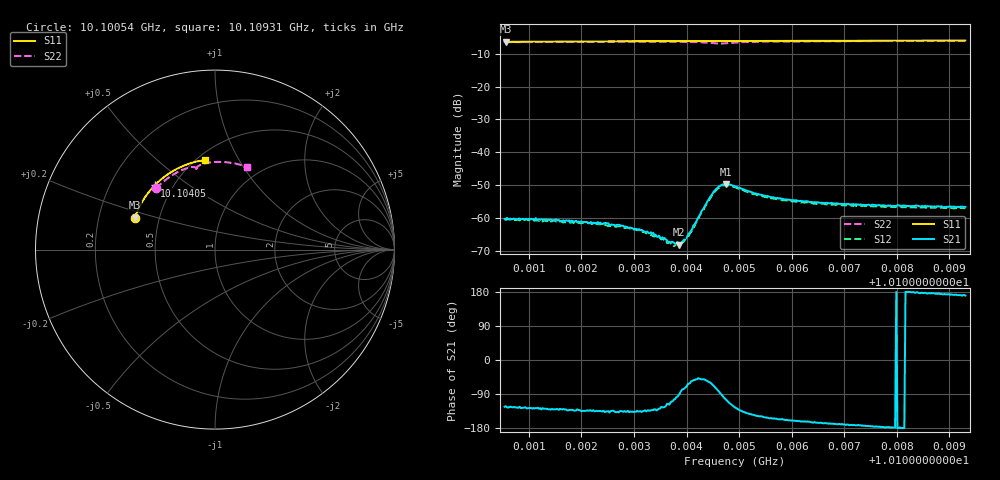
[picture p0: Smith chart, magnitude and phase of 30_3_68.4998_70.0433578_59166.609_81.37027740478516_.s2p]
#  HZ  S  RI  R  50.00
! Rohde & Schwarz Vector Network Analyzer
! Rohde-Schwarz,ZNB20-2Port,1311601062101988,3.16
! Created: UTC 3/20/2024, 5:05:03 PM
! freq[Hz]  re:S11  im:S11  re:S21  im:S21  re:S12  im:S12  re:S22  im:S22
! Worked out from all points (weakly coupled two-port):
!   401 points, 10.10054 GHz to 10.10931 GHz, reference 50 ohm
!   highest |S21| = -49.59 dB at 10.10475 GHz (marker M1); lowest = -68.0 dB at 10.10385 GHz (marker M2)
!   lowest |S11| = -6.4 dB at 10.10056 GHz (marker M3), VSWR 2.85, Z = 18.1 + j8.39 ohm
!   |S11| at or under -10 dB: nowhere
!   |S22| runs from -6.9 to -6.1 dB; largest |S21 - S12| = 0.00033
!   S11 on the Smith chart (normalised r, x): 10.10054 GHz: 0.36, +0.17; 10.10405 GHz: 0.40, +0.37; 10.10931 GHz: 0.55, +0.73
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1.0100539e10  -0.4464 0.1769  -0.000535 -0.000817  -0.000462 -0.000835  -0.3271 0.3412
1.0100561e10  -0.4459 0.1781  -0.000519 -0.000833  -0.000466 -0.000821  -0.3262 0.3421
1.0101526e10  -0.4237 0.2326  -0.000603 -0.000736  -0.00053 -0.0007  -0.2803 0.3846
1.0102008e10  -0.4102 0.2587  -0.000627 -0.000627  -0.000545 -0.000657  -0.2551 0.4032
1.0102753e10  -0.3863 0.2971  -0.000545 -0.000554  -0.000489 -0.000552  -0.2135 0.4291
1.0103104e10  -0.3738 0.3143  -0.000485 -0.000478  -0.000431 -0.000487  -0.1925 0.4395
1.0103367e10  -0.3638 0.327  -0.000404 -0.000446  -0.000331 -0.000417  -0.1761 0.4467
1.0103476e10  -0.3597 0.332  -0.00034 -0.000425  -0.00028 -0.000424  -0.1691 0.4494
1.0103739e10  -0.3491 0.3441  -0.000138 -0.000413  -8.46e-05 -0.000391  -0.1511 0.4553
1.0103849e10  -0.3447 0.3489  -2.12e-05 -0.000396  4.24e-05 -0.000385  -0.1433 0.4573
1.0103893e10  -0.3428 0.3509  5.36e-05 -0.00042  7.74e-05 -0.000411  -0.1401 0.458
1.0104046e10  -0.3365 0.3575  0.000273 -0.000519  0.000289 -0.000457  -0.1283 0.4598
1.0104397e10  -0.3212 0.3724  0.00102 -0.00149  0.0011 -0.00133  -0.1007 0.4538
1.0104506e10  -0.3164 0.377  0.000983 -0.00223  0.0011 -0.00206  -0.0962 0.4469
1.0104638e10  -0.3105 0.3822  0.000161 -0.00309  0.000462 -0.00295  -0.0987 0.441
1.0104747e10  -0.3056 0.3865  -0.000821 -0.00321  -0.000523 -0.00314  -0.1033 0.4436
1.0104923e10  -0.2975 0.3934  -0.00176 -0.00249  -0.00149 -0.00253  -0.1016 0.4558
1.0105229e10  -0.2831 0.405  -0.002 -0.00149  -0.00179 -0.00158  -0.083 0.4711
1.0105514e10  -0.2691 0.4153  -0.00189 -0.00101  -0.00176 -0.00118  -0.063 0.4786
1.0106391e10  -0.2242 0.4435  -0.0017 -0.000462  -0.00157 -0.000619  -0.00378 0.4877
1.0107859e10  -0.1429 0.4791  -0.00154 -8e-05  -0.00146 -0.000223  0.0913 0.4832
1.0109306e10  -0.0578 0.4991  -0.00147 0.000258  -0.00143 7.21e-05  0.1807 0.4606
